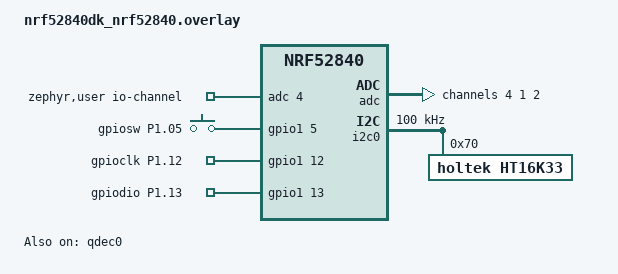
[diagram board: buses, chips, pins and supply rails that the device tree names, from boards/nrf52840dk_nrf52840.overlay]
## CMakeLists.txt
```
# SPDX-License-Identifier: Apache-2.0

cmake_minimum_required(VERSION 3.20.0)

find_package(Zephyr REQUIRED HINTS $ENV{ZEPHYR_BASE})
project(Project)

FILE(GLOB app_sources src/*.c)
target_sources(app PRIVATE ${app_sources})
```

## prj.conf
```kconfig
CONFIG_ADC=y
CONFIG_ADC_ASYNC=y
CONFIG_ADC_NRFX_SAADC=y

CONFIG_LOG=y
CONFIG_I2C=y
CONFIG_LED=y
CONFIG_KSCAN=y
CONFIG_KSCAN_INIT_PRIORITY=95
CONFIG_HT16K33_KEYSCAN=y

CONFIG_SENSOR=y
CONFIG_PRINTK=y
```

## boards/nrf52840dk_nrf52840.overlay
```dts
// To get started, press Ctrl+Space to bring up the completion menu and view the available nodes.

// You can also use the buttons in the sidebar to perform actions on nodes.
// Actions currently available include:

// * Enabling / disabling the node
// * Adding the bus to a bus
// * Removing the node
// * Connecting ADC channels

// For more help, browse the DeviceTree documentation at https://docs.zephyrproject.org/latest/guides/dts/index.html
// You can also visit the nRF DeviceTree extension documentation at https://nrfconnect.github.io/vscode-nrf-connect/devicetree/nrfdevicetree.html


/ {
	zephyr,user {
        io-channels = <&adc 4>;
	};

	aliases {
		qdec0 = &qdec0;
		gpio-sw = &gpiosw;
		gpio-clk = &gpioclk;
		gpio-dio = &gpiodio;
	};

	gpiocustom{
		status = "okay";
		compatible = "gpio-keys";
		gpiosw: gpiosw {
			gpios = <&gpio1 5 (GPIO_PULL_UP)>;
			label = "gpiosw P1.05";
		};

		gpioclk: gpioclk{
			gpios = <&gpio1 12 GPIO_ACTIVE_HIGH>;
			label = "gpioclk P1.12";
		};

		gpiodio: gpiodio{
			gpios = <&gpio1 13 GPIO_ACTIVE_HIGH>;
			label = "gpiodio P1.13";
		};
	};

};

&spi3 {
	status = "disabled";
};

&adc {
	#address-cells = <1>;
	#size-cells = <0>;

	channel@4 {
		reg = <4>;
		zephyr,gain = "ADC_GAIN_1";
		zephyr,reference = "ADC_REF_INTERNAL";
		zephyr,acquisition-time = <ADC_ACQ_TIME_DEFAULT>;
		zephyr,input-positive = <NRF_SAADC_AIN4>; /* P0.28 */
		zephyr,resolution = <10>;
	};
};

&pinctrl {
	qdec_pinctrl: qdec_pinctrl {
		group1 {
			psels = <NRF_PSEL(QDEC_A, 1, 4)>,   /* Arduino D3 */
				<NRF_PSEL(QDEC_B, 1, 3)>;   /* Arduino D2 */
		};
	};
};

&qdec0 {
	status = "okay";
	pinctrl-0 = <&qdec_pinctrl>;
	pinctrl-names = "default";
	steps = < 20 >;
	led-pre = < 500 >;
};


&adc {
	#address-cells = <1>;
	#size-cells = <0>;

	channel@1 {
		reg = <1>;
		zephyr,gain = "ADC_GAIN_1";
		zephyr,reference = "ADC_REF_INTERNAL";
		zephyr,acquisition-time = <ADC_ACQ_TIME_DEFAULT>;
		zephyr,input-positive = <NRF_SAADC_AIN1>; /* P0.03 */
		zephyr,resolution = <10>;
		// zephyr,differential;
	};

	channel@2 {
		reg = <2>;
		zephyr,gain = "ADC_GAIN_1";
		zephyr,reference = "ADC_REF_INTERNAL";
		zephyr,acquisition-time = <ADC_ACQ_TIME_DEFAULT>;
		zephyr,input-positive = <NRF_SAADC_AIN2>; /* P0.04 */
		zephyr,resolution = <10>;
		// zephyr,differential;
	};
};

&i2c0 {
	clock-frequency = <I2C_BITRATE_STANDARD>;

	ht16k33@70 {
		compatible = "holtek,ht16k33";
		reg = <0x70>;
        /* Uncomment to use IRQ instead of polling: */
		/* irq-gpios = <&gpio1 8 (GPIO_PULL_UP | GPIO_ACTIVE_LOW)>; */

		keyscan {
			compatible = "holtek,ht16k33-keyscan";
		};
	};
};
```

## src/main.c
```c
#include <zephyr/device.h>
#include <zephyr/devicetree.h>
#include <zephyr/drivers/adc.h>
#include <zephyr/kernel.h>
#include <zephyr/sys/printk.h>
#include <zephyr/sys/util.h>
#include <zephyr/drivers/sensor.h>
#include <zephyr/drivers/gpio.h>
#include <zephyr/device.h>

#include <inttypes.h>
#include <stddef.h>
#include <stdint.h>

#include "print_led.h"


#include <zephyr/drivers/kscan.h>
#include <zephyr/drivers/led.h>

#include "batterydisplay.h"
#include "value.h"

#if !DT_NODE_EXISTS(DT_ALIAS(qdec0))
#error "Unsupported board: qdec0 devicetree alias is not defined"
#endif

#define SW_NODE DT_NODELABEL(gpiosw)
#if !DT_NODE_HAS_STATUS(SW_NODE, okay)
#error "Unsupported board: gpiosw devicetree alias is not defined or enabled"
#endif
static const struct gpio_dt_spec sw = GPIO_DT_SPEC_GET(SW_NODE, gpios);

static bool sw_led_flag = false;
static int rotary_idx = 0;

static struct gpio_callback sw_cb_data;
static int seconds = 80;
static int beat_count = 0;

void sw_callback(const struct device *dev, struct gpio_callback *cb, uint32_t pins)
{
	printk("SW pressed\n");
	sw_led_flag = !sw_led_flag;
}


// #include "led.h"
#if !DT_NODE_EXISTS(DT_PATH(zephyr_user)) || \
	!DT_NODE_HAS_PROP(DT_PATH(zephyr_user), io_channels)
#error "No suitable devicetree overlay specified"
#endif

#define DT_SPEC_AND_COMMA(node_id, prop, idx) \
	ADC_DT_SPEC_GET_BY_IDX(node_id, idx),

/* Data of ADC io-channels specified in devicetree. */
static const struct adc_dt_spec adc_channels[] = {
	DT_FOREACH_PROP_ELEM(DT_PATH(zephyr_user), io_channels,
			     DT_SPEC_AND_COMMA)
};

#define MAX_SENSORVALUE 1000
#define MIN_SENSORVALUE 500
#define SENSOR_INVALID_VALUE 65500

long map(long x, long in_min, long in_max, long out_min, long out_max)
{
        return (x - in_min) * (out_max - out_min) / (in_max - in_min) + out_min;
}


struct k_timer my_timer;
struct k_work my_work;

static int level = 4;
static int status = 0;

#define ADC_NODE DT_PATH(zephyr_user)
#if !DT_NODE_EXISTS(ADC_NODE) || !DT_NODE_HAS_PROP(ADC_NODE, io_channels)
#error "No suitable devicetree overlay specified"
#endif

#define ADC_SPEC_AND_COMMA(node_id, prop, idx) \
    ADC_DT_SPEC_GET_BY_IDX(node_id, idx),


// add for joystick
struct k_timer my_timer1;
struct k_work my_work1;

int32_t preX = 0;
int32_t preY = 0;
static const int ADC_MAX = 1023;
static const int AXIS_DEVIATION = ADC_MAX / 2;
int32_t nowX = 0;
int32_t nowY = 0;
int err;
uint16_t buf;
struct adc_sequence sequence = {
    .buffer = &buf,
    /* buffer size in bytes, not number of samples */
    .buffer_size = sizeof(buf),
    .resolution = 10, // Ensure the resolution is set correctly
};

bool isChange(void)
{
    if ((nowX < (preX - 50)) || nowX > (preX + 50)) {
        preX = nowX;
        return true;
    }

    if ((nowY < (preY - 50)) || nowY > (preY + 50)) {
        preY = nowY;
        return true;
    }
    return false;
}

void adc_read_work_handler(struct k_work *work)
{
    err = adc_channel_setup(adc_channels[0].dev, &adc_channels[0].channel_cfg);
    if (err < 0) {
        printk("Could not setup channel 0 (%d)\n", err);
        return;
    }

    (void)adc_sequence_init_dt(&adc_channels[0], &sequence);
    err = adc_read(adc_channels[0].dev, &sequence);
    if (err < 0) {
        printk("Could not read channel 0 (%d)\n", err);
        return;
    }

    nowX = (int32_t)buf;

    err = adc_channel_setup(adc_channels[1].dev, &adc_channels[1].channel_cfg);
    if (err < 0) {
        printk("Could not setup channel 1 (%d)\n", err);
        return;
    }

    (void)adc_sequence_init_dt(&adc_channels[1], &sequence);
    err = adc_read(adc_channels[1].dev, &sequence);
    if (err < 0) {
        printk("Could not read channel 1 (%d)\n", err);
        return;
    }

    nowY = (int32_t)buf;

    printk("Joy X: %" PRIu32 ", ", nowX);
    printk("Joy Y: %" PRIu32 ", ", nowY);

    if (nowX >= 65500 || nowY >= 65500) {
        return;
    }


    if (nowX == ADC_MAX && nowY == ADC_MAX) {
        status = 0;
    } else if (nowX < AXIS_DEVIATION && nowY == ADC_MAX) {
        status = 3;
    } else if (nowX > AXIS_DEVIATION && nowY == ADC_MAX) {
        status = 1;
    } else if (nowY > AXIS_DEVIATION && nowX == ADC_MAX) {
        status = 4;
    } else if (nowY < AXIS_DEVIATION && nowX == ADC_MAX) {
        status = 2;
    }
    printk("\n");

    if (status == 1) {
        if (level < 4) level++;
    }
    else if (status == 2) {
        if (level > 2) level--;
    }
    else if (status == 3) {
        if (level > 2) level--;
    }
    else if (status == 4) {
        if (level < 4) level++;
    }

    printk("status : %d, level : %d\n", status, level);
}

void my_timer1_handler(struct k_timer *dummy)
{
    k_work_submit(&my_work1);
}

void my_work_handler(struct k_work *work)
{


	if (level == 4) {
      if (beat_count == 0) {
         display_level(1);
      } else if (beat_count == 1) {
         display_level(4);
      } else if (beat_count == 2) {
         display_level(6);
      } else if (beat_count == 3) {
         display_level(7);
      }

      beat_count = beat_count +1;
      if (beat_count >= 3) {
         beat_count = 0;
      }
   }
   else if(level == 3) {
      if (beat_count == 0) {
         display_level(2);
      } else if (beat_count == 1) {
         display_level(5);
      } else if (beat_count == 2) {
         display_level(7);
      }

      beat_count = beat_count +1;
      if (beat_count >= 2) {
         beat_count = 0;
      }
   }
   else if(level == 2) {
      if (beat_count == 0) {
         display_level(4);
      } else if (beat_count == 1) {
         display_level(7);
      }

      beat_count = beat_count +1;
      if (beat_count >= 1) {
         beat_count = 0;
      }
   }
}

void display_rotary_led(int32_t rotary_val)
{
	if(rotary_val > 0){
		seconds++;
		printk("encdoer up\n");
		led_on_seconds(seconds);
		int bpm_interval = (int)(60000.0 / seconds);
		k_timer_start(&my_timer, K_MSEC(bpm_interval), K_MSEC(bpm_interval));
	} else if(rotary_val < 0){
		seconds--;
		printk("encdoer down\n");
		led_on_seconds(seconds);
		int bpm_interval = (int)(60000.0 / seconds);
		k_timer_start(&my_timer, K_MSEC(bpm_interval), K_MSEC(bpm_interval));
	}
}

K_WORK_DEFINE(my_work, my_work_handler);

void my_timer_handler(struct k_timer *dummy)
{
    k_work_submit(&my_work);
}

K_TIMER_DEFINE(my_timer, my_timer_handler, NULL);



int main(void)
{
	bool isClear = true;
	uint32_t count = 0;
    uint32_t sound_value = 0;
	int sound_level = 0;
	uint32_t prev_timestamp =0;
	uint32_t curr_timestamp =0;
	uint32_t intervals[3] = {0, 0, 0};
	int bpm = 0;


	/* Configure channels individually prior to sampling. */
	for (size_t i = 0U; i < ARRAY_SIZE(adc_channels); i++) {
		if (!adc_is_ready_dt(&adc_channels[i])) {
			printk("ADC controller device %s not ready\n", adc_channels[i].dev->name);
			return 0;
		}

		err = adc_channel_setup_dt(&adc_channels[i]);
		if (err < 0) {
			printk("Could not setup channel #%d (%d)\n", i, err);
			return 0;
		}
	}

	

	struct sensor_value val;
	int rc;
	const struct device *const dev = DEVICE_DT_GET(DT_ALIAS(qdec0));

	if (!device_is_ready(dev)) {
		printk("Qdec device is not ready\n");
		return 0;
	}

	if(!gpio_is_ready_dt(&sw)) {
		printk("SW GPIO is not ready\n");
		return 0;
	}

	err = gpio_pin_configure_dt(&sw, GPIO_INPUT);
	if(err < 0){
		printk("Error configuring SW GPIO pin %d\n", err);
		return 0;
	}

	err = gpio_pin_interrupt_configure_dt(&sw, GPIO_INT_EDGE_RISING);
	if(err != 0){
		printk("Error configuring SW GPIO interrupt %d\n", err);
		return 0;
	}

	gpio_init_callback(&sw_cb_data, sw_callback, BIT(sw.pin));
	gpio_add_callback(sw.port, &sw_cb_data);

	printk("Quadrature decoder sensor test\n");

	led_on_idx(rotary_idx);

	//joystick
	printk("Seconds counter example 2\n");
    int ret = DK_OK;

    ret = batterydisplay_intit();
    if (ret != DK_OK) {
        printk("Error initializing battery display\n");
        return DK_ERR;
    }

    ret = led_init();
    if (ret != DK_OK) {
        printk("Error initializing LED\n");
        return DK_ERR;
    }

	// k_work_init(&my_work1, adc_read_work_handler);
    // k_timer_init(&my_timer1, my_timer1_handler, NULL);
    // k_timer_start(&my_timer1, K_MSEC(200), K_MSEC(200));

	while (1) {

		if(sw_led_flag){
			(void)adc_sequence_init_dt(&adc_channels[0], &sequence);
			err = adc_read(adc_channels[0].dev, &sequence);
			if (err < 0) {
				printk("Could not read (%d)\n", err);
				k_sleep(K_MSEC(100));
				continue;
			}

			sound_value = (int32_t)buf;
			if(sound_value >= SENSOR_INVALID_VALUE){
				// printk("sound_value: invalid data %" PRIu32 "\n", sound_value);
				// k_sleep(K_MSEC(1));
				continue;
			}
			sound_level = map(sound_value, 0, MAX_SENSORVALUE, 0, MIN_SENSORVALUE);

			
			if(sound_level > 500 && isClear == true){
				isClear = false;

				curr_timestamp = k_uptime_get_32();

				uint32_t sum_of_Intervals = 0;
				intervals[count % 3] = curr_timestamp - prev_timestamp ; // Record the current time
				if(count>2){
					for(int i=0;i<3;i++){
						sum_of_Intervals += intervals[i];
					} 
					bpm = (int)(60000 / (sum_of_Intervals / 3)); // Calculate BPM (3 intervals between 4 beats)
					printk("BPM : %d\n", bpm);
					seconds = bpm;
					led_on_seconds(seconds);
					int bpm_interval = (int)(60000.0 / bpm);
					k_timer_start(&my_timer, K_MSEC(bpm_interval), K_MSEC(bpm_interval));
				}
				prev_timestamp = curr_timestamp;
				printk("Count : %u \n", count++);
				printk("sound_value: %" PRIu32 " sound_level : %d\n", sound_value, sound_level);
			}
			else if (sound_level < 100){
				isClear = true;
			}
		}
		else{
			rc = sensor_sample_fetch(dev);
			if (rc != 0) {
				printk("Failed to fetch sample (%d)\n", rc);
				return 0;
			}

			rc = sensor_channel_get(dev, SENSOR_CHAN_ROTATION, &val);
			if (rc != 0) {
				printk("Failed to get data (%d)\n", rc);
				return 0;
			}

			// int sw_val = gpio_pin_get_dt(&sw);

			if(!sw_led_flag){
				display_rotary_led(val.val1);
			} else{
				led_off_all();
			}

			printk("Position = %d degrees \n", val.val1);

			k_msleep(100);
		}
		
		k_sleep(K_MSEC(1));
	}
	return 0;
}
```

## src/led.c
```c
#include "led.h"

int led_matrix_array [MAX_ROTARY_IDX+1][MAX_LED_NUM+1]= {
 {
    0, 0, 0, 0, 0, 0, 0, 0, 0, 0, 0, 0, 0, 0, 0, 0,
    0, 0, 0, 0, 0, 0, 0, 0, 0, 0, 0, 0, 0, 0, 0, 0,
    0, 0, 0, 0, 0, 0, 0, 0, 0, 0, 0, 0, 0, 0, 0, 0,
    1, 1, 1, 1, 1, 1, 1, 1, 0, 0, 0, 0, 0, 0, 0, 0,
    0, 0, 0, 0, 0, 0, 0, 0, 1, 1, 1, 1, 1, 1, 1, 1,
    0, 0, 0, 0, 0, 0, 0, 0, 0, 0, 0, 0, 0, 0, 0, 0,
    0, 0, 0, 0, 0, 0, 0, 0, 0, 0, 0, 0, 0, 0, 0, 0,
    0, 0, 0, 0, 0, 0, 0, 0, 0, 0, 0, 0, 0, 0, 0, 0
 },
 {
    0, 0, 0, 0, 0, 0, 0, 0, 0, 0, 0, 0, 0, 0, 0, 0,
    0, 0, 0, 0, 0, 0, 0, 0, 0, 0, 0, 0, 0, 0, 0, 0,
    1, 1, 1, 0, 0, 0, 0, 0, 0, 0, 0, 0, 0, 0, 0, 0,
    0, 0, 0, 1, 1, 1, 1, 1, 0, 0, 0, 0, 0, 0, 0, 0,
    0, 0, 0, 0, 0, 0, 0, 0, 1, 1, 1, 1, 1, 0, 0, 0,
    0, 0, 0, 0, 0, 0, 0, 0, 0, 0, 0, 0, 0, 1, 1, 1,
    0, 0, 0, 0, 0, 0, 0, 0, 0, 0, 0, 0, 0, 0, 0, 0,
    0, 0, 0, 0, 0, 0, 0, 0, 0, 0, 0, 0, 0, 0, 0, 0
 },
 {
    0, 0, 0, 0, 0, 0, 0, 0, 0, 0, 0, 0, 0, 0, 0, 0,
    1, 1, 0, 0, 0, 0, 0, 0, 0, 0, 0, 0, 0, 0, 0, 0,
    0, 0, 1, 1, 1, 0, 0, 0, 0, 0, 0, 0, 0, 0, 0, 0,
    0, 0, 0, 0, 0, 1, 1, 1, 0, 0, 0, 0, 0, 0, 0, 0,
    0, 0, 0, 0, 0, 0, 0, 0, 1, 1, 1, 0, 0, 0, 0, 0,
    0, 0, 0, 0, 0, 0, 0, 0, 0, 0, 0, 1, 1, 1, 0, 0,
    0, 0, 0, 0, 0, 0, 0, 0, 0, 0, 0, 0, 0, 0, 1, 1,
    0, 0, 0, 0, 0, 0, 0, 0, 0, 0, 0, 0, 0, 0, 0, 0
 },
 {
    1, 1, 0, 0, 0, 0, 0, 0, 0, 0, 0, 0, 0, 0, 0, 0,
    0, 0, 1, 1, 0, 0, 0, 0, 0, 0, 0, 0, 0, 0, 0, 0,
    0, 0, 0, 0, 1, 1, 0, 0, 0, 0, 0, 0, 0, 0, 0, 0,
    0, 0, 0, 0, 0, 0, 1, 1, 0, 0, 0, 0, 0, 0, 0, 0,
    0, 0, 0, 0, 0, 0, 0, 0, 1, 1, 0, 0, 0, 0, 0, 0,
    0, 0, 0, 0, 0, 0, 0, 0, 0, 0, 1, 1, 0, 0, 0, 0,
    0, 0, 0, 0, 0, 0, 0, 0, 0, 0, 0, 0, 1, 1, 0, 0,
    0, 0, 0, 0, 0, 0, 0, 0, 0, 0, 0, 0, 0, 0, 1, 1
 },
 {
    0, 0, 1, 0, 0, 0, 0, 0, 0, 0, 0, 0, 0, 0, 0, 0,
    0, 0, 0, 1, 1, 0, 0, 0, 0, 0, 0, 0, 0, 0, 0, 0,
    0, 0, 0, 0, 0, 1, 0, 0, 0, 0, 0, 0, 0, 0, 0, 0,
    0, 0, 0, 0, 0, 0, 1, 1, 0, 0, 0, 0, 0, 0, 0, 0,
    0, 0, 0, 0, 0, 0, 0, 0, 1, 1, 0, 0, 0, 0, 0, 0,
    0, 0, 0, 0, 0, 0, 0, 0, 0, 1, 1, 0, 0, 0, 0, 0,
    0, 0, 0, 0, 0, 0, 0, 0, 0, 0, 0, 1, 1, 0, 0, 0,
    0, 0, 0, 0, 0, 0, 0, 0, 0, 0, 0, 0, 0, 1, 0, 0
 },
 {
    0, 0, 0, 0, 1, 0, 0, 0, 0, 0, 0, 0, 0, 0, 0, 0,
    0, 0, 0, 0, 0, 1, 0, 0, 0, 0, 0, 0, 0, 0, 0, 0,
    0, 0, 0, 0, 0, 0, 1, 0, 0, 0, 0, 0, 0, 0, 0, 0,
    0, 0, 0, 0, 0, 0, 0, 1, 0, 0, 0, 0, 0, 0, 0, 0,
    0, 0, 0, 0, 0, 0, 0, 0, 1, 0, 0, 0, 0, 0, 0, 0,
    0, 0, 0, 0, 0, 0, 0, 0, 0, 1, 0, 0, 0, 0, 0, 0,
    0, 0, 0, 0, 0, 0, 0, 0, 0, 0, 1, 0, 0, 0, 0, 0,
    0, 0, 0, 0, 0, 0, 0, 0, 0, 0, 0, 1, 0, 0, 0, 0,
 },
 {
    0, 0, 0, 0, 0, 0, 1, 0, 0, 0, 0, 0, 0, 0, 0, 0,
    0, 0, 0, 0, 0, 0, 1, 0, 0, 0, 0, 0, 0, 0, 0, 0,
    0, 0, 0, 0, 0, 0, 0, 1, 0, 0, 0, 0, 0, 0, 0, 0,
    0, 0, 0, 0, 0, 0, 0, 1, 0, 0, 0, 0, 0, 0, 0, 0,
    0, 0, 0, 0, 0, 0, 0, 0, 1, 0, 0, 0, 0, 0, 0, 0,
    0, 0, 0, 0, 0, 0, 0, 0, 1, 0, 0, 0, 0, 0, 0, 0,
    0, 0, 0, 0, 0, 0, 0, 0, 0, 1, 0, 0, 0, 0, 0, 0,
    0, 0, 0, 0, 0, 0, 0, 0, 0, 1, 0, 0, 0, 0, 0, 0
 },
 {
    0, 0, 0, 0, 0, 0, 0, 1, 0, 0, 0, 0, 0, 0, 0, 0,
    0, 0, 0, 0, 0, 0, 0, 1, 0, 0, 0, 0, 0, 0, 0, 0,
    0, 0, 0, 0, 0, 0, 0, 1, 0, 0, 0, 0, 0, 0, 0, 0,
    0, 0, 0, 0, 0, 0, 0, 1, 0, 0, 0, 0, 0, 0, 0, 0,
    0, 0, 0, 0, 0, 0, 0, 0, 1, 0, 0, 0, 0, 0, 0, 0,
    0, 0, 0, 0, 0, 0, 0, 0, 1, 0, 0, 0, 0, 0, 0, 0,
    0, 0, 0, 0, 0, 0, 0, 0, 1, 0, 0, 0, 0, 0, 0, 0,
    0, 0, 0, 0, 0, 0, 0, 0, 1, 0, 0, 0, 0, 0, 0, 0
 },
 {
    0, 0, 0, 0, 0, 0, 0, 0, 1, 0, 0, 0, 0, 0, 0, 0,
    0, 0, 0, 0, 0, 0, 0, 0, 1, 0, 0, 0, 0, 0, 0, 0,
    0, 0, 0, 0, 0, 0, 0, 0, 1, 0, 0, 0, 0, 0, 0, 0,
    0, 0, 0, 0, 0, 0, 0, 0, 1, 0, 0, 0, 0, 0, 0, 0,
    0, 0, 0, 0, 0, 0, 0, 1, 0, 0, 0, 0, 0, 0, 0, 0,
    0, 0, 0, 0, 0, 0, 0, 1, 0, 0, 0, 0, 0, 0, 0, 0,
    0, 0, 0, 0, 0, 0, 0, 1, 0, 0, 0, 0, 0, 0, 0, 0,
    0, 0, 0, 0, 0, 0, 0, 1, 0, 0, 0, 0, 0, 0, 0, 0
 },
 {
    0, 0, 0, 0, 0, 0, 0, 0, 0, 0, 0, 1, 0, 0, 0, 0,
    0, 0, 0, 0, 0, 0, 0, 0, 0, 0, 1, 0, 0, 0, 0, 0,
    0, 0, 0, 0, 0, 0, 0, 0, 0, 1, 0, 0, 0, 0, 0, 0,
    0, 0, 0, 0, 0, 0, 0, 0, 1, 0, 0, 0, 0, 0, 0, 0,
    0, 0, 0, 0, 0, 0, 0, 1, 0, 0, 0, 0, 0, 0, 0, 0,
    0, 0, 0, 0, 0, 0, 1, 0, 0, 0, 0, 0, 0, 0, 0, 0,
    0, 0, 0, 0, 0, 1, 0, 0, 0, 0, 0, 0, 0, 0, 0, 0,
    0, 0, 0, 0, 1, 0, 0, 0, 0, 0, 0, 0, 0, 0, 0, 0
 },
 {
    0, 0, 0, 0, 0, 0, 0, 0, 0, 0, 0, 0, 0, 1, 0, 0,
    0, 0, 0, 0, 0, 0, 0, 0, 0, 0, 0, 1, 1, 0, 0, 0,
    0, 0, 0, 0, 0, 0, 0, 0, 0, 0, 1, 0, 0, 0, 0, 0,
    0, 0, 0, 0, 0, 0, 0, 0, 1, 1, 0, 0, 0, 0, 0, 0,
    0, 0, 0, 0, 0, 0, 1, 1, 0, 0, 0, 0, 0, 0, 0, 0,
    0, 0, 0, 0, 0, 1, 1, 0, 0, 0, 0, 0, 0, 0, 0, 0,
    0, 0, 0, 1, 1, 0, 0, 0, 0, 0, 0, 0, 0, 0, 0, 0,
    0, 0, 1, 0, 0, 0, 0, 0, 0, 0, 0, 0, 0, 0, 0, 0
 },
 {
    0, 0, 0, 0, 0, 0, 0, 0, 0, 0, 0, 0, 0, 0, 1, 1,
    0, 0, 0, 0, 0, 0, 0, 0, 0, 0, 0, 0, 1, 1, 0, 0,
    0, 0, 0, 0, 0, 0, 0, 0, 0, 0, 1, 1, 0, 0, 0, 0,
    0, 0, 0, 0, 0, 0, 0, 0, 1, 1, 0, 0, 0, 0, 0, 0,
    0, 0, 0, 0, 0, 0, 1, 1, 0, 0, 0, 0, 0, 0, 0, 0,
    0, 0, 0, 0, 1, 1, 0, 0, 0, 0, 0, 0, 0, 0, 0, 0,
    0, 0, 1, 1, 0, 0, 0, 0, 0, 0, 0, 0, 0, 0, 0, 0,
    1, 1, 0, 0, 0, 0, 0, 0, 0, 0, 0, 0, 0, 0, 0, 0
 },
 {
    0, 0, 0, 0, 0, 0, 0, 0, 0, 0, 0, 0, 0, 0, 0, 0,
    0, 0, 0, 0, 0, 0, 0, 0, 0, 0, 0, 0, 0, 0, 1, 1,
    0, 0, 0, 0, 0, 0, 0, 0, 0, 0, 0, 1, 1, 1, 0, 0,
    0, 0, 0, 0, 0, 0, 0, 0, 1, 1, 1, 0, 0, 0, 0, 0,
    0, 0, 0, 0, 0, 1, 1, 1, 0, 0, 0, 0, 0, 0, 0, 0,
    0, 0, 1, 1, 1, 0, 0, 0, 0, 0, 0, 0, 0, 0, 0, 0,
    1, 1, 0, 0, 0, 0, 0, 0, 0, 0, 0, 0, 0, 0, 0, 0,
    0, 0, 0, 0, 0, 0, 0, 0, 0, 0, 0, 0, 0, 0, 0, 0
 },
 {
    0, 0, 0, 0, 0, 0, 0, 0, 0, 0, 0, 0, 0, 0, 0, 0,
    0, 0, 0, 0, 0, 0, 0, 0, 0, 0, 0, 0, 0, 0, 0, 0,
    0, 0, 0, 0, 0, 0, 0, 0, 0, 0, 0, 0, 0, 1, 1, 1,
    0, 0, 0, 0, 0, 0, 0, 0, 1, 1, 1, 1, 1, 0, 0, 0,
    0, 0, 0, 1, 1, 1, 1, 1, 0, 0, 0, 0, 0, 0, 0, 0,
    1, 1, 1, 0, 0, 0, 0, 0, 0, 0, 0, 0, 0, 0, 0, 0,
    0, 0, 0, 0, 0, 0, 0, 0, 0, 0, 0, 0, 0, 0, 0, 0,
    0, 0, 0, 0, 0, 0, 0, 0, 0, 0, 0, 0, 0, 0, 0, 0
 },
 {
    0, 0, 0, 0, 0, 0, 0, 0, 0, 0, 0, 0, 0, 0, 0, 0,
    0, 0, 0, 0, 0, 0, 0, 0, 0, 0, 0, 0, 0, 0, 0, 0,
    0, 0, 0, 0, 0, 0, 0, 0, 0, 0, 0, 0, 0, 0, 0, 0,
    0, 0, 0, 0, 0, 0, 0, 0, 1, 1, 1, 1, 1, 1, 1, 1,
    1, 1, 1, 1, 1, 1, 1, 1, 0, 0, 0, 0, 0, 0, 0, 0,
    0, 0, 0, 0, 0, 0, 0, 0, 0, 0, 0, 0, 0, 0, 0, 0,
    0, 0, 0, 0, 0, 0, 0, 0, 0, 0, 0, 0, 0, 0, 0, 0,
    0, 0, 0, 0, 0, 0, 0, 0, 0, 0, 0, 0, 0, 0, 0, 0
 }
};

// int led_init(void)
// {
//     if(!device_is_ready(led)){
//         printk("LED device %s is not ready\n", led->name);
//     }

//     return 0;
// }

void led_off_all(void)
{
    for(int i = 0; i< MAX_LED_NUM; i++){
        led_off(led, i);
    }
}

void led_on_idx(int idx)
{
   //  led_off_all();
    for(int i = 0; i < MAX_LED_NUM; i++){
        if(led_matrix_array[idx][i] == 1){
            led_on(led, i);
        } else {
            led_off(led, i);
        }
    }
}
```

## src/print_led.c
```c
#include "print_led.h"
#include "value.h"

int number_led_matrix_arr [MAX_LED_MATRIX_IDX+1][MAX_LED_MATRIX_NUM+1];


// Function to initialize the LED matrix
int led_init(void)
{
    if(!device_is_ready(led)){
        printk("LED device %s is not ready\n", led->name);
        return DK_ERR;
    }

    for(int i = 0; i< MAX_LED_NUM; i++){
        led_off(led, i);
    }

    return DK_OK;
}

void led_on_seconds(int seconds)
{
    if(seconds >=100){
        seconds -= 100;
    }
    int tens = seconds / 10;
    int units = seconds % 10;

    int num_arr_idx = 0;

    for(int i = 0; i < MAX_LED_NUM; i+=16){
        for(int j = i; j < (i+8); j++){
            if(number_led_matrix_arr[tens][num_arr_idx] == 1){
                // printk("[tens] led_on: j:[%d] num_array_idx[%d]\n", j, num_arr_idx);
                led_on(led, j);
            } else {
                led_off(led, j);
            }

            num_arr_idx++;
        }
    }

    num_arr_idx = 0;

    for(int i = 0; i < MAX_LED_NUM; i+=16){
        for(int j = (i+8); j < (i+16); j++){
            if(number_led_matrix_arr[units][num_arr_idx] == 1){
                // printk("[units] led_on: j:[%d] num_array_idx[%d]\n", j, num_arr_idx);
                led_on(led, j);
            } else {
                led_off(led, j);
            }
            num_arr_idx++;
        }
    }

}

int number_led_matrix_arr [MAX_LED_MATRIX_IDX+1][MAX_LED_MATRIX_NUM+1]= {
    { // 0
        0,0,0,1,1,1,0,0,
        0,0,1,0,0,0,1,0,
        0,0,1,0,0,0,1,0,
        0,0,1,0,0,0,1,0,
        0,0,1,0,0,0,1,0,
        0,0,1,0,0,0,1,0,
        0,0,1,0,0,0,1,0,
        0,0,0,1,1,1,0,0
    },
    { // 1
        0,0,0,0,1,0,0,0,
        0,0,0,1,1,0,0,0,
        0,0,1,0,1,0,0,0,
        0,0,0,0,1,0,0,0,
        0,0,0,0,1,0,0,0,
        0,0,0,0,1,0,0,0,
        0,0,0,0,1,0,0,0,
        0,0,1,1,1,1,1,0
    },
    { // 2
        0,0,0,0,1,0,0,0,
        0,0,0,1,0,1,0,0,
        0,0,1,0,0,0,1,0,
        0,0,0,0,0,1,0,0,
        0,0,0,0,1,0,0,0,
        0,0,0,1,0,0,0,0,
        0,0,1,0,0,0,0,0,
        0,0,1,1,1,1,1,0
    },
    { // 3
        0,0,1,1,1,1,0,0,
        0,0,0,0,0,0,1,0,
        0,0,0,0,0,0,1,0,
        0,0,1,1,1,1,0,0,
        0,0,0,0,0,0,1,0,
        0,0,0,0,0,0,1,0,
        0,0,0,0,0,0,1,0,
        0,0,1,1,1,1,0,0
    },
    { // 4
        0,0,0,0,0,1,0,0,
        0,0,0,0,1,1,0,0,
        0,0,0,1,0,1,0,0,
        0,0,1,0,0,1,0,0,
        0,1,1,1,1,1,1,0,
        0,0,0,0,0,1,0,0,
        0,0,0,0,0,1,0,0,
        0,0,0,0,0,1,0,0
    },
    { // 5
        0,0,1,1,1,1,1,0,
        0,0,1,0,0,0,0,0,
        0,0,1,0,0,0,0,0,
        0,0,1,1,1,1,0,0,
        0,0,0,0,0,0,1,0,
        0,0,0,0,0,0,1,0,
        0,0,1,0,0,0,1,0,
        0,0,0,1,1,1,0,0
    },
    { // 6
        0,0,0,1,1,1,0,0,
        0,0,1,0,0,0,0,0,
        0,0,1,0,0,0,0,0,
        0,0,1,1,1,1,0,0,
        0,0,1,0,0,0,1,0,
        0,0,1,0,0,0,1,0,
        0,0,1,0,0,0,1,0,
        0,0,0,1,1,1,0,0
    },
    { // 7
        0,0,1,1,1,1,1,0,
        0,0,1,0,0,0,1,0,
        0,0,1,0,0,0,1,0,
        0,0,1,0,0,0,1,0,
        0,0,0,0,0,0,1,0,
        0,0,0,0,0,0,1,0,
        0,0,0,0,0,0,1,0,
        0,0,0,0,0,0,1,0
    },
    { // 8
        0,0,0,1,1,1,0,0,
        0,0,1,0,0,0,1,0,
        0,0,1,0,0,0,1,0,
        0,0,0,1,1,1,0,0,
        0,0,1,0,0,0,1,0,
        0,0,1,0,0,0,1,0,
        0,0,1,0,0,0,1,0,
        0,0,0,1,1,1,0,0
    },
    { // 9
        0,0,0,1,1,1,0,0,
        0,0,1,0,0,0,1,0,
        0,0,1,0,0,0,1,0,
        0,0,1,0,0,0,1,0,
        0,0,0,1,1,1,1,0,
        0,0,0,0,0,0,1,0,
        0,0,0,0,0,0,1,0,
        0,0,0,0,0,0,1,0
    }
};
```
